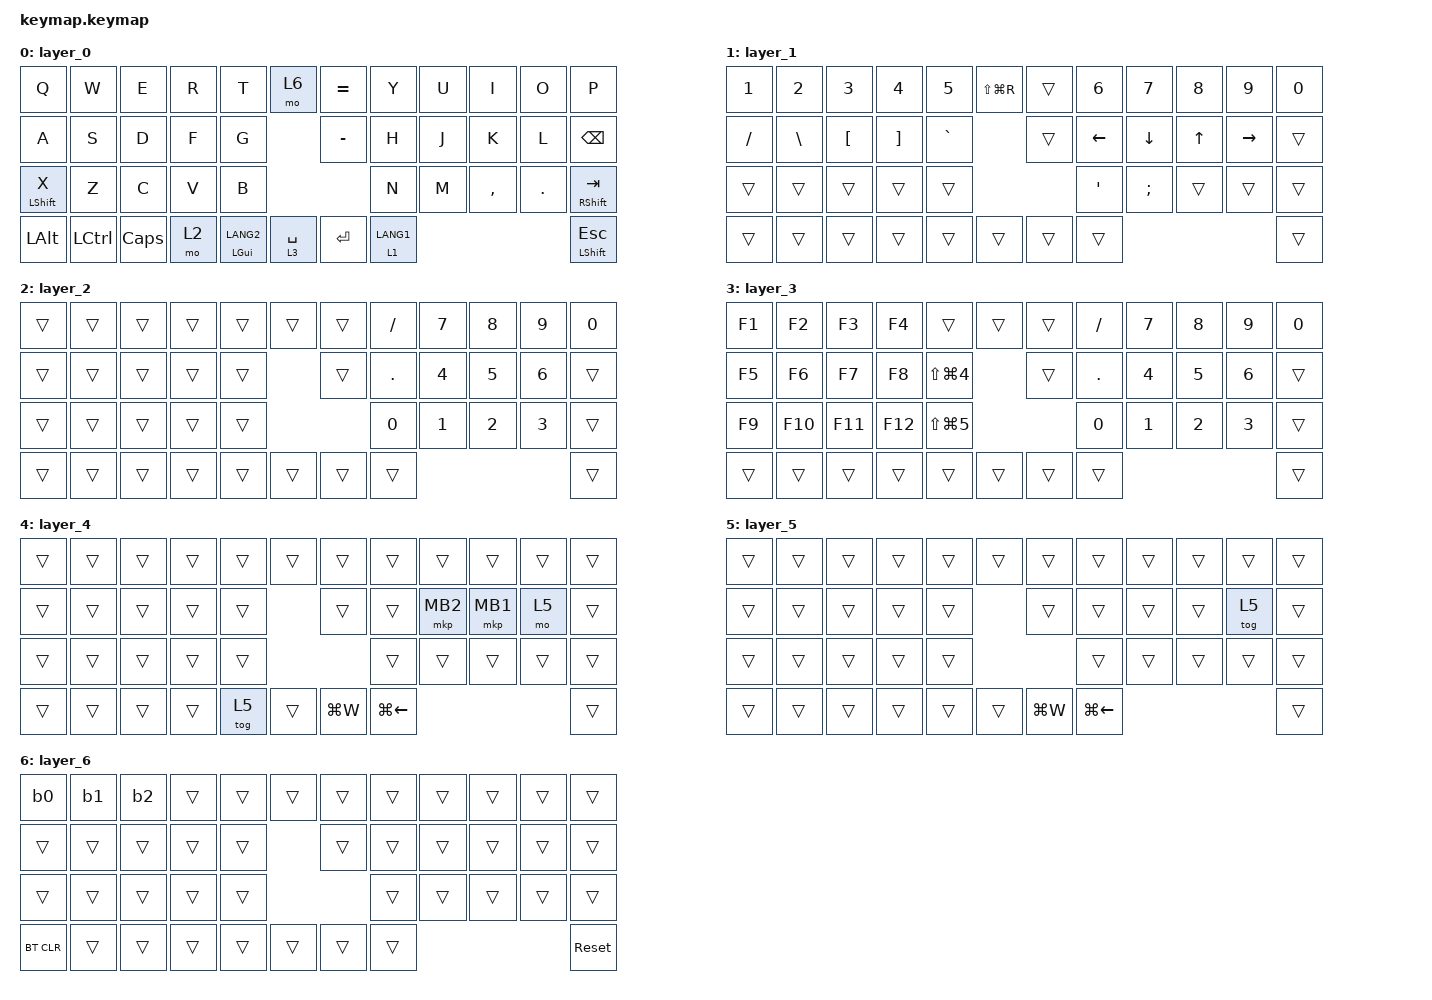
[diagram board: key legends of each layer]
#include <behaviors.dtsi>
#include <dt-bindings/zmk/bt.h>
#include <dt-bindings/zmk/keys.h>
#include <dt-bindings/zmk/pointing.h>

/ {
    macros {
        b0: new_macro {
            compatible = "zmk,behavior-macro";
            #binding-cells = <0>;
            bindings = <&bt BT_DISC 0 &bt BT_SEL 0>, <&macro_press>;

            label = "NEW_MACRO";
        };

        b1: b1 {
            compatible = "zmk,behavior-macro";
            #binding-cells = <0>;
            bindings = <&bt BT_DISC 1 &bt BT_SEL 1>;
            label = "B1";
        };

        b2: b2 {
            compatible = "zmk,behavior-macro";
            #binding-cells = <0>;
            bindings = <&bt BT_DISC 2 &bt BT_SEL 2>;
            label = "B2";
        };

        /* ()を入力してカーソルを中に戻す */

        macro_parens: macro_parens {
            compatible = "zmk,behavior-macro";
            #binding-cells = <0>;
            wait-ms = <10>;
            tap-ms = <10>;
            bindings = <&kp LPAR &kp RPAR &kp LEFT>;
        };

        /* []を入力してカーソルを中に戻す */

        macro_brackets: macro_brackets {
            compatible = "zmk,behavior-macro";
            #binding-cells = <0>;
            wait-ms = <10>;
            tap-ms = <10>;
            bindings = <&kp LBKT &kp RBKT &kp LEFT>;
        };

        /* {}を入力してカーソルを中に戻す */

        macro_braces: macro_braces {
            compatible = "zmk,behavior-macro";
            #binding-cells = <0>;
            wait-ms = <10>;
            tap-ms = <10>;
            bindings = <&kp LBRC &kp RBRC &kp LEFT>;
        };

        /* <>を入力してカーソルを中に戻す */

        macro_angles: macro_angles {
            compatible = "zmk,behavior-macro";
            #binding-cells = <0>;
            wait-ms = <10>;
            tap-ms = <10>;
            bindings = <&kp LT &kp GT &kp LEFT>;
        };

        /* ''を入力してカーソルを中に戻す */

        macro_squotes: macro_squotes {
            compatible = "zmk,behavior-macro";
            #binding-cells = <0>;
            wait-ms = <10>;
            tap-ms = <10>;
            bindings = <&kp SQT &kp SQT &kp LEFT>;
        };

        /* ""を入力してカーソルを中に戻す */

        macro_dquotes: macro_dquotes {
            compatible = "zmk,behavior-macro";
            #binding-cells = <0>;
            wait-ms = <10>;
            tap-ms = <10>;
            bindings = <&kp DQT &kp DQT &kp LEFT>;
        };

        macro_if: if {
            compatible = "zmk,behavior-macro";
            #binding-cells = <0>;
            bindings = <&kp LPAR &kp RPAR &kp SPACE &kp LBRC &kp RBRC>;
            label = "IF";
        };
    };

    behaviors {
        hml: home_row_layer_left {
            compatible = "zmk,behavior-hold-tap";
            label = "HML";
            #binding-cells = <2>;
            tapping-term-ms = <200>;
            quick-tap-ms = <200>;
            flavor = "balanced";
            bindings = <&mo>, <&kp>;
        };

        kth: kth {
            compatible = "zmk,behavior-hold-tap";
            label = "KTH";
            #binding-cells = <2>;
            tapping-term-ms = <180>;
            quick-tap-ms = <200>;
            bindings = <&kp>, <&kp>;

            flavor = "hold-preferred";
        };

        lth: lth {
            compatible = "zmk,behavior-hold-tap";
            label = "LTH";
            #binding-cells = <2>;
            tapping-term-ms = <170>;
            quick-tap-ms = <200>;
            bindings = <&mo>, <&kp>;

            flavor = "hold-preferred";
        };

        // 親指スペース・シフト用（ssh/hhs は tap-preferred）

        ssh: ssh {
            compatible = "zmk,behavior-hold-tap";
            label = "SSH";
            #binding-cells = <2>;

            /* 1. 判定時間を少し伸ばして、迷った時のタップ優先度を上げる */

            tapping-term-ms = <190>;

            /* 2. 連打（変換や決定）を確実に受け付ける */

            quick-tap-ms = <200>;

            /* 3. ★重要★ アイドル時間を増やし、タイピング中のホールドを封印する */

            require-prior-idle-ms = <150>;

            /* 4. ★重要★ 親指に最適なアルゴリズムに変更 */

            flavor = "tap-preferred";
            bindings = <&kp>, <&kp>;
        };

        ltm: ltm {
            tapping-term-ms = <220>;
            compatible = "zmk,behavior-hold-tap";
            label = "LTm";
            #binding-cells = <2>;
            quick-tap-ms = <200>;
            require-prior-idle-ms = <145>;
            flavor = "tap-preferred";
            bindings = <&mo>, <&kp>;
        };

        hhs: hhs {
            compatible = "zmk,behavior-hold-tap";
            label = "HHS";
            #binding-cells = <2>;
            tapping-term-ms = <170>;
            quick-tap-ms = <200>;
            require-prior-idle-ms = <150>;
            bindings = <&mo>, <&kp>;

            flavor = "tap-preferred";
            retro-tap;
        };

        stl: stl {
            compatible = "zmk,behavior-hold-tap";
            label = "STL";
            #binding-cells = <2>;
            tapping-term-ms = <195>;
            quick-tap-ms = <180>;
            require-prior-idle-ms = <100>;
            flavor = "tap-preferred";
            bindings = <&mo>, <&kp>;
        };

        // 中指Shift専用：タイピング中の誤爆を徹底的に防ぐ

        msl: middle_shift {
            compatible = "zmk,behavior-hold-tap";
            label = "MIDDLE_SHIFT";
            #binding-cells = <2>;
            tapping-term-ms = <180>;    // 快適さと正確さのバランス
            quick-tap-ms = <180>;
            flavor = "balanced";       // 反対の手と組み合わせた瞬間にShiftになる
            bindings = <&kp>, <&kp>;

            require-prior-idle-ms = <110>; // 前の打鍵から少し間を置かないとShiftにならない（誤爆防止）
            hold-while-undecided;
        };

        behaviorHoldTap180: behaviorHoldTap180 {
            compatible = "zmk,behavior-hold-tap";
            label = "BEHAVIORHOLDTAP180";
            bindings = <&mo>, <&kp>;

            #binding-cells = <2>;
            require-prior-idle-ms = <0>;
            tapping-term-ms = <180>;
        };

        behaviorTapDance1: behaviorTapDance1 {
            compatible = "zmk,behavior-tap-dance";
            label = "BEHAVIORTAPDANCE1";
            #binding-cells = <0>;
            bindings = <&kp BACKSPACE>, <&kp ENTER>;

            tapping-term-ms = <180>;
        };

        behaviorHoldTap150: behaviorHoldTap150 {
            compatible = "zmk,behavior-hold-tap";
            label = "BEHAVIORHOLDTAP150";
            bindings = <&kp>, <&kp>;

            #binding-cells = <2>;
            tapping-term-ms = <150>;
        };

        behaviorHoldTapTap: behaviorHoldTapTap {
            compatible = "zmk,behavior-hold-tap";
            label = "BEHAVIORHOLDTAPTAP";
            bindings = <&kp>, <&kp>;

            #binding-cells = <2>;
            tapping-term-ms = <150>;
            flavor = "tap-preferred";
        };
    };

    combos {
        compatible = "zmk,combos";

        /* ============================================================
           CATEGORY: SYMBOL MACROS (snake_case)
           =========================================================== */
        /* --- 右手側：主要な括弧 --- */
        // ( ) : 右手上段 [U] + [I]

        combo_parens {
            bindings = <&macro_parens>;
            key-positions = <8 10 9>;
        };

        // [ ] : 右手ホーム段 [J] + [K]

        combo_brackets {
            bindings = <&macro_brackets>;
            key-positions = <19 20 21>;
        };

        // { } : 右手下段 [M] + [,]

        combo_braces {
            bindings = <&macro_braces>;
            key-positions = <31 30 29>;
        };

        // < > : 右手下段 [,] + [.]

        combo_angles {
            bindings = <&macro_angles>;
            key-positions = <31 30>;
        };

        /* --- 左手側：引用符 --- */
        // ' ' : 左手ホーム段 [D] + [F]

        combo_squotes {
            bindings = <&macro_squotes>;
            key-positions = <7 8>;
        };

        // " " : 左手ホーム段 [S] + [D]

        combo_dquotes {
            bindings = <&macro_dquotes>;
            key-positions = <18 19>;
        };

        /* ============================================================
           CATEGORY: EDITING & SPECIAL (snake_case)
           =========================================================== */
        // Backspace : 右手ホーム段 [K] + [L]

        combo_minus {
            bindings = <&kp MINUS>;
            key-positions = <20 21>;
        };

        // Delete : 右手上段端付近

        combo_eql {
            bindings = <&kp EQUAL>;
            key-positions = <10 9>;
        };

        // Escape : 右手ホーム段 [K] + [右端キー]

        combo_esc {
            bindings = <&kp ESC>;
            key-positions = <21 19>;
        };

        m_if {
            bindings = <&macro_if>;
            key-positions = <3 2>;
        };

        combo_slash {
            bindings = <&kp SLASH>;
            key-positions = <29 28>;
        };

        bs {
            bindings = <&kp BSPC>;
            key-positions = <20 19>;
        };

        altbs {
            bindings = <&kp LA(BSPC)>;
            key-positions = <9 8>;
        };

        boot {
            bindings = <&bootloader>;
            key-positions = <33 34 35 41>;
        };
    };

    keymap {
        compatible = "zmk,keymap";

        layer_0 {
            bindings = <
&kp Q          &kp W      &kp E     &kp R  &kp T           &mo 6         &kp EQUAL  &kp Y                             &kp U  &kp I      &kp O       &kp P
&kp A          &kp S      &kp D     &kp F  &kp G                         &kp MINUS  &kp H                             &kp J  &kp K      &kp L       &kp BACKSPACE
&kth LSHIFT X  &kp Z      &kp C     &kp V  &kp B                                    &kp N                             &kp M  &kp COMMA  &kp PERIOD  &mt RSHIFT TAB
&kp LALT       &kp LCTRL  &kp CAPS  &mo 2  &mt LGUI LANG2  &stl 3 SPACE  &kp ENTER  &behaviorHoldTap180 1 LANG1                                     &mt LSHIFT ESC
            >;
        };

        layer_1 {
            bindings = <
&kp N1     &kp N2    &kp N3    &kp N4    &kp N5     &kp LS(LG(R))  &trans  &kp N6    &kp N7    &kp N8  &kp N9     &kp N0
&kp SLASH  &kp BSLH  &kp LBKT  &kp RBKT  &kp GRAVE                 &trans  &kp LEFT  &kp DOWN  &kp UP  &kp RIGHT  &trans
&trans     &trans    &trans    &trans    &trans                            &kp SQT   &kp SEMI  &trans  &trans     &trans
&trans     &trans    &trans    &trans    &trans     &trans         &trans  &trans                                 &trans
            >;
        };

        layer_2 {
            bindings = <
&trans  &trans  &trans  &trans  &trans  &trans  &trans  &kp SLASH   &kp N7  &kp N8  &kp N9  &kp N0
&trans  &trans  &trans  &trans  &trans          &trans  &kp PERIOD  &kp N4  &kp N5  &kp N6  &trans
&trans  &trans  &trans  &trans  &trans                  &kp N0      &kp N1  &kp N2  &kp N3  &trans
&trans  &trans  &trans  &trans  &trans  &trans  &trans  &trans                              &trans
            >;
        };

        layer_3 {
            bindings = <
&kp F1  &kp F2   &kp F3   &kp F4   &trans          &trans  &trans  &kp SLASH   &kp N7  &kp N8  &kp N9  &kp N0
&kp F5  &kp F6   &kp F7   &kp F8   &kp LS(LG(N4))          &trans  &kp PERIOD  &kp N4  &kp N5  &kp N6  &trans
&kp F9  &kp F10  &kp F11  &kp F12  &kp LS(LG(N5))                  &kp N0      &kp N1  &kp N2  &kp N3  &trans
&trans  &trans   &trans   &trans   &trans          &trans  &trans  &trans                              &trans
            >;
        };

        layer_4 {
            bindings = <
&trans  &trans  &trans  &trans  &trans  &trans  &trans     &trans              &trans    &trans    &trans  &trans
&trans  &trans  &trans  &trans  &trans          &trans     &trans              &mkp MB2  &mkp MB1  &mo 5   &trans
&trans  &trans  &trans  &trans  &trans                     &trans              &trans    &trans    &trans  &trans
&trans  &trans  &trans  &trans  &tog 5  &trans  &kp LG(W)  &kp LG(LEFT_ARROW)                              &trans
            >;
        };

        layer_5 {
            bindings = <
&trans  &trans  &trans  &trans  &trans  &trans  &trans     &trans              &trans  &trans  &trans  &trans
&trans  &trans  &trans  &trans  &trans          &trans     &trans              &trans  &trans  &tog 5  &trans
&trans  &trans  &trans  &trans  &trans                     &trans              &trans  &trans  &trans  &trans
&trans  &trans  &trans  &trans  &trans  &trans  &kp LG(W)  &kp LG(LEFT_ARROW)                          &trans
            >;
        };

        layer_6 {
            bindings = <
&b0         &b1     &b2     &trans  &trans  &trans  &trans  &trans  &trans  &trans  &trans  &trans
&trans      &trans  &trans  &trans  &trans          &trans  &trans  &trans  &trans  &trans  &trans
&trans      &trans  &trans  &trans  &trans                  &trans  &trans  &trans  &trans  &trans
&bt BT_CLR  &trans  &trans  &trans  &trans  &trans  &trans  &trans                          &sys_reset
            >;
        };
    };

    conditional_layers {
        compatible = "zmk,conditional-layers";

        hoge {
            if-layers = <1 2>;
            then-layer = <3>;
        };
    };
};
